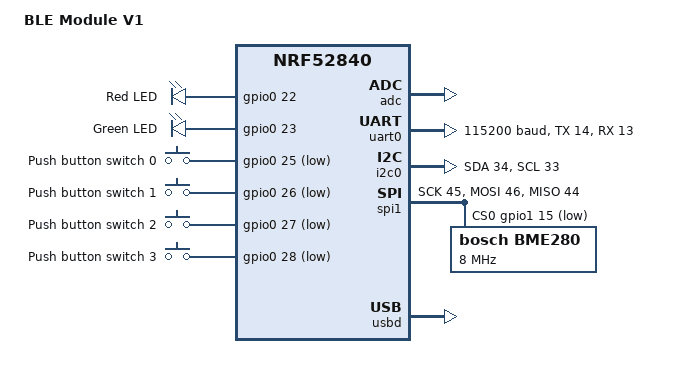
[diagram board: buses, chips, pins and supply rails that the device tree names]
/*
 * Copyright (c) 2021 Joel Svensson
 *
 * SPDX-License-Identifier: Apache-2.0
 */


/*
 * Started with copy of nrf52840_pca10056
*/

/dts-v1/;
#include <nordic/nrf52840_qiaa.dtsi>

/ {
	model = "BLE Module V1";
	compatible = "ble-module-v1";

	chosen {
		zephyr,console = &uart0;
		zephyr,shell-uart = &uart0;
		zephyr,uart-mcumgr = &uart0;
		zephyr,bt-mon-uart = &uart0;
		zephyr,bt-c2h-uart = &uart0;
		zephyr,sram = &sram0;
		zephyr,flash = &flash0;
		zephyr,code-partition = &slot0_partition;
	};

	leds {
		compatible = "gpio-leds";
		led0: led_0 {
			gpios = <&gpio0 22 GPIO_ACTIVE_HIGH>;
			label = "Red LED";
		};
		
		led1: led_1 {
			gpios = <&gpio0 23 GPIO_ACTIVE_HIGH>;
			label = "Green LED";
		};
	};

	buttons {
		compatible = "gpio-keys";
		button0: button_0 {
			gpios = <&gpio0 25 (GPIO_PULL_UP | GPIO_ACTIVE_LOW)>;
			label = "Push button switch 0";
		};
		button1: button_1 {
			gpios = <&gpio0 26 (GPIO_PULL_UP | GPIO_ACTIVE_LOW)>;
			label = "Push button switch 1";
		};
		button2: button_2 {
			gpios = <&gpio0 27 (GPIO_PULL_UP | GPIO_ACTIVE_LOW)>;
			label = "Push button switch 2";
		};
		button3: button_3 {
			gpios = <&gpio0 28 (GPIO_PULL_UP | GPIO_ACTIVE_LOW)>;
			label = "Push button switch 3";
		};
	};

	aliases {
		led0 = &led0;
		led1 = &led1;
	};
};

&adc {
	status = "okay";
};

&gpiote {
	status = "okay";
};

&gpio0 {
	status = "okay";
};

&gpio1 {
	status = "okay";
};

/* UART No idea if these settings are correct - Seems to work*/
&uart0 {
	compatible = "nordic,nrf-uart";
	status = "okay";
	current-speed = <115200>;
	tx-pin = <14>;
	rx-pin = <13>;
};

/* i2c */

&i2c0 {
      compatible = "nordic,nrf-twi";
      status = "okay";
      //sda-gpios = <&gpio1 2 0>;
      //scl-gpios = <&gpio1 1 0>;
      sda-pin = <34>;
      scl-pin = <33>; 
};

/* spi */ 

&spi1 {
      compatible = "nordic,nrf-spi";
      status = "okay";
      sck-pin = <45>;
      mosi-pin = <46>;
      miso-pin = <44>;
      
      cs-gpios = <&gpio1 15 GPIO_ACTIVE_LOW>;

      bme280@0 {
        compatible = "bosch,bme280";
      	label = "BME280";
	reg = <0>;
	spi-max-frequency = <8000000>;
	status = "okay";	
	};
};

 
&flash0 {
	/*
	 * For more information, see:
	 * http://docs.zephyrproject.org/latest/guides/dts/index.html#flash-partitions
	 */
	partitions {
		compatible = "fixed-partitions";
		#address-cells = <1>;
		#size-cells = <1>;

		boot_partition: partition@0 {
			label = "mcuboot";
			reg = <0x000000000 0x0000C000>;
		};
		slot0_partition: partition@c000 {
			label = "image-0";
			reg = <0x0000C000 0x000067000>;
		};
		slot1_partition: partition@73000 {
			label = "image-1";
			reg = <0x00073000 0x000067000>;
		};
		scratch_partition: partition@da000 {
			label = "image-scratch";
			reg = <0x000da000 0x0001e000>;
		};

		/*
		 * The flash starting at 0x000f8000 and ending at
		 * 0x000fffff is reserved for use by the application.
		 */

		/* Storage partition will be used by FCB/NFFS/NVS if enabled. */
		storage_partition: partition@f8000 {
			label = "storage";
			reg = <0x000f8000 0x00008000>;
		};
	};
};

&usbd {
	compatible = "nordic,nrf-usbd";
	status = "okay";
};
